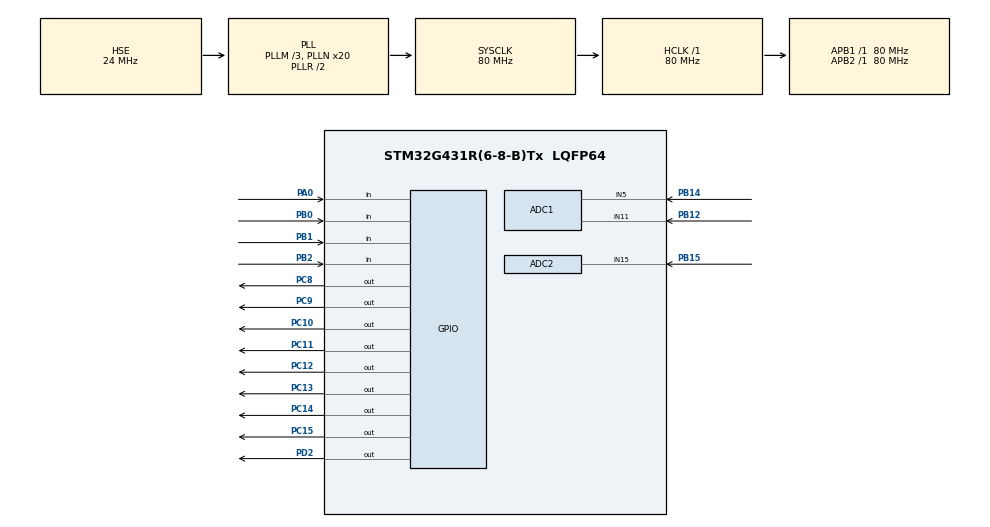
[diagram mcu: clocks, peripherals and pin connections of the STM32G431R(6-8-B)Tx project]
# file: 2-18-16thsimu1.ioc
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ADC1.Channel-0\#ChannelRegularConversion=ADC_CHANNEL_5
ADC1.Channel-1\#ChannelRegularConversion=ADC_CHANNEL_11
ADC1.ClockPrescaler=ADC_CLOCK_ASYNC_DIV128
ADC1.ContinuousConvMode=DISABLE
ADC1.DMAContinuousRequests=DISABLE
ADC1.DiscontinuousConvMode=DISABLE
ADC1.NbrOfConversion=2
ADC1.NbrOfConversionFlag=1
ADC1.OffsetNumber-0\#ChannelRegularConversion=ADC_OFFSET_NONE
ADC1.OffsetNumber-1\#ChannelRegularConversion=ADC_OFFSET_NONE
ADC1.Rank-0\#ChannelRegularConversion=1
ADC1.Rank-1\#ChannelRegularConversion=2
ADC1.SamplingTime-0\#ChannelRegularConversion=ADC_SAMPLETIME_640CYCLES_5
ADC1.SamplingTime-1\#ChannelRegularConversion=ADC_SAMPLETIME_640CYCLES_5
ADC1.master=1
ADC2.Channel-0\#ChannelRegularConversion=ADC_CHANNEL_15
ADC2.ClockPrescaler=ADC_CLOCK_ASYNC_DIV128
ADC2.ContinuousConvMode=DISABLE
ADC2.DMAContinuousRequests=DISABLE
ADC2.NbrOfConversionFlag=1
ADC2.OffsetNumber-0\#ChannelRegularConversion=ADC_OFFSET_NONE
ADC2.Rank-0\#ChannelRegularConversion=1
ADC2.SamplingTime-0\#ChannelRegularConversion=ADC_SAMPLETIME_2CYCLES_5
Mcu.Family=STM32G4
Mcu.Name=STM32G431R(6-8-B)Tx
Mcu.Package=LQFP64
NVIC.ADC1_2_IRQn=true\:2\:0\:true\:false\:true\:true\:true\:true
NVIC.PriorityGroup=NVIC_PRIORITYGROUP_4
NVIC.TIM7_IRQn=true\:1\:0\:true\:false\:true\:true\:true\:true
PA0.GPIO_Mode=GPIO_MODE_INPUT
PA0.GPIO_PuPd=GPIO_PULLUP
PA0.Signal=GPIO_Input
PA13.Mode=Serial_Wire
PA13.Signal=SYS_JTMS-SWDIO
PA14.Mode=Serial_Wire
PA14.Signal=SYS_JTCK-SWCLK
PB0.GPIO_Mode=GPIO_MODE_INPUT
PB0.GPIO_PuPd=GPIO_PULLUP
PB0.Signal=GPIO_Input
PB1.GPIO_Mode=GPIO_MODE_INPUT
PB1.GPIO_PuPd=GPIO_PULLUP
PB1.Signal=GPIO_Input
PB12.Mode=IN11-Single-Ended
PB12.Signal=ADC1_IN11
PB14.Mode=IN5-Single-Ended
PB14.Signal=ADC1_IN5
PB15.Mode=IN15-Single-Ended
PB15.Signal=ADC2_IN15
PB2.GPIO_Mode=GPIO_MODE_INPUT
PB2.GPIO_PuPd=GPIO_PULLUP
PB2.Signal=GPIO_Input
PC10.PinState=GPIO_PIN_SET
PC10.Signal=GPIO_Output
PC11.PinState=GPIO_PIN_SET
PC11.Signal=GPIO_Output
PC12.PinState=GPIO_PIN_SET
PC12.Signal=GPIO_Output
PC13.PinState=GPIO_PIN_SET
PC13.Signal=GPIO_Output
PC14-OSC32_IN.PinState=GPIO_PIN_SET
PC14-OSC32_IN.Signal=GPIO_Output
PC15-OSC32_OUT.PinState=GPIO_PIN_SET
PC15-OSC32_OUT.Signal=GPIO_Output
PC8.PinState=GPIO_PIN_SET
PC8.Signal=GPIO_Output
PC9.PinState=GPIO_PIN_SET
PC9.Signal=GPIO_Output
PD2.PinState=GPIO_PIN_SET
PD2.Signal=GPIO_Output
PF0-OSC_IN.Mode=HSE-External-Oscillator
PF0-OSC_IN.Signal=RCC_OSC_IN
PF1-OSC_OUT.Mode=HSE-External-Oscillator
PF1-OSC_OUT.Signal=RCC_OSC_OUT
ProjectManager.HeapSize=0x200
ProjectManager.StackSize=0x400
ProjectManager.TargetToolchain=MDK-ARM V5.32
RCC.ADC12Freq_Value=80000000
RCC.AHBFreq_Value=80000000
RCC.APB1Freq_Value=80000000
RCC.APB1TimFreq_Value=80000000
RCC.APB2Freq_Value=80000000
RCC.APB2TimFreq_Value=80000000
RCC.CortexFreq_Value=80000000
RCC.EXTERNAL_CLOCK_VALUE=12288000
RCC.HCLKFreq_Value=80000000
RCC.HSE_VALUE=24000000
RCC.HSI48_VALUE=48000000
RCC.HSI_VALUE=16000000
RCC.LSE_VALUE=32768
RCC.PLLM=RCC_PLLM_DIV3
RCC.PLLN=20
RCC.PLLSourceVirtual=RCC_PLLSOURCE_HSE
RCC.SYSCLKFreq_VALUE=80000000
RCC.SYSCLKSource=RCC_SYSCLKSOURCE_PLLCLK
RCC.USBFreq_Value=80000000
RCC.VCOOutputFreq_Value=160000000
TIM7.PeriodNoDither=1000-1
TIM7.Prescaler=80-1
VP_SYS_VS_DBSignals.Mode=DisableDeadBatterySignals
VP_TIM7_VS_ClockSourceINT.Mode=Enable_Timer
board=custom

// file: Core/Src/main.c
/* USER CODE BEGIN Header */
/**
  ******************************************************************************
  * @file           : main.c
  * @brief          : Main program body
  ******************************************************************************
  * @attention
  *
  * Copyright (c) 2025 STMicroelectronics.
  * All rights reserved.
  *
  * This software is licensed under terms that can be found in the LICENSE file
  * in the root directory of this software component.
  * If no LICENSE file comes with this software, it is provided AS-IS.
  *
  ******************************************************************************
  */
/* USER CODE END Header */
#include "main.h"
#include "adc.h"
#include "tim.h"
#include "gpio.h"

/* USER CODE BEGIN Includes */
#include "headfile.h"

/* USER CODE END Includes */

void SystemClock_Config(void);

int main(void)
{

  /* MCU Configuration--------------------------------------------------------*/

  /* Reset of all peripherals, Initializes the Flash interface and the Systick. */
  HAL_Init();

  /* Configure the system clock */
  SystemClock_Config();

  /* Initialize all configured peripherals */
  MX_GPIO_Init();
  MX_TIM7_Init();
  MX_ADC2_Init();
  MX_ADC1_Init();
  /* USER CODE BEGIN 2 */
	HAL_GPIO_WritePin(GPIOD, GPIO_PIN_2, GPIO_PIN_RESET);
	led_show(1,0);
	led_show(2,0);
	led_show(3,0);
	led_show(4,0);
	led_show(5,0);
	led_show(6,0);
	led_show(7,0);
	led_show(8,0);

	led_show(1,1);

	HAL_TIM_Base_Start_IT(&htim7);

	LCD_Init();
	LCD_Clear(Black);
	LCD_SetTextColor(White);
	LCD_SetBackColor(Black);

	HAL_ADCEx_Calibration_Start(&hadc1,ADC_SINGLE_ENDED);
	HAL_ADCEx_Calibration_Start(&hadc2,ADC_SINGLE_ENDED);

	I2CInit();

	mcp_write(63);
	//mcp_write(40);
	mcp_value = mcp_read();

  /* USER CODE END 2 */

  /* Infinite loop */
  /* USER CODE BEGIN WHILE */
  while (1)
  {
		while_fun();
    /* USER CODE END WHILE */

  }
}

void SystemClock_Config(void)
{
  RCC_OscInitTypeDef RCC_OscInitStruct = {0};
  RCC_ClkInitTypeDef RCC_ClkInitStruct = {0};

  /** Configure the main internal regulator output voltage
  */
  HAL_PWREx_ControlVoltageScaling(PWR_REGULATOR_VOLTAGE_SCALE1);

  /** Initializes the RCC Oscillators according to the specified parameters
  * in the RCC_OscInitTypeDef structure.
  */
  RCC_OscInitStruct.OscillatorType = RCC_OSCILLATORTYPE_HSE;
  RCC_OscInitStruct.HSEState = RCC_HSE_ON;
  RCC_OscInitStruct.PLL.PLLState = RCC_PLL_ON;
  RCC_OscInitStruct.PLL.PLLSource = RCC_PLLSOURCE_HSE;
  RCC_OscInitStruct.PLL.PLLM = RCC_PLLM_DIV3;
  RCC_OscInitStruct.PLL.PLLN = 20;
  RCC_OscInitStruct.PLL.PLLP = RCC_PLLP_DIV2;
  RCC_OscInitStruct.PLL.PLLQ = RCC_PLLQ_DIV2;
  RCC_OscInitStruct.PLL.PLLR = RCC_PLLR_DIV2;
  if (HAL_RCC_OscConfig(&RCC_OscInitStruct) != HAL_OK)
  {
    Error_Handler();
  }

  /** Initializes the CPU, AHB and APB buses clocks
  */
  RCC_ClkInitStruct.ClockType = RCC_CLOCKTYPE_HCLK|RCC_CLOCKTYPE_SYSCLK
                              |RCC_CLOCKTYPE_PCLK1|RCC_CLOCKTYPE_PCLK2;
  RCC_ClkInitStruct.SYSCLKSource = RCC_SYSCLKSOURCE_PLLCLK;
  RCC_ClkInitStruct.AHBCLKDivider = RCC_SYSCLK_DIV1;
  RCC_ClkInitStruct.APB1CLKDivider = RCC_HCLK_DIV1;
  RCC_ClkInitStruct.APB2CLKDivider = RCC_HCLK_DIV1;

  if (HAL_RCC_ClockConfig(&RCC_ClkInitStruct, FLASH_LATENCY_2) != HAL_OK)
  {
    Error_Handler();
  }
}

void Error_Handler(void)
{
  __disable_irq();
  while (1)
  {
  }
}
